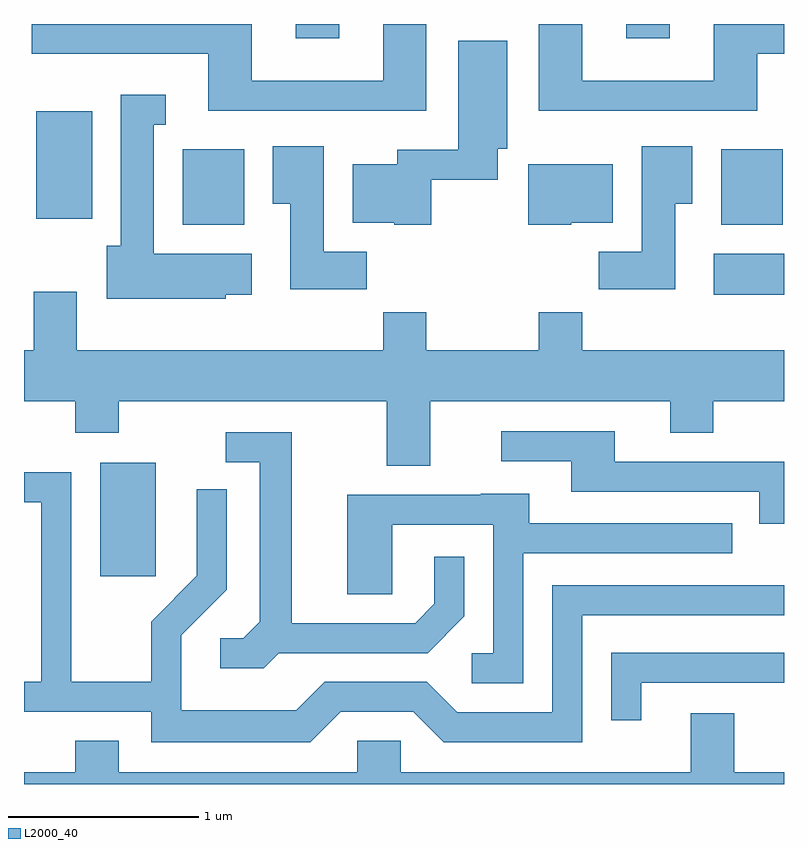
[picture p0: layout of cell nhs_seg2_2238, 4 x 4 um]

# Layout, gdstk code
import gdstk
lib = gdstk.Library(unit=1e-6, precision=1e-09)
def R(c, l, rs):  # rectangles x0, y0, x1, y1
    for r in rs: c.add(gdstk.rectangle(r[:2], r[2:], *l))
def P(c, l, *ps):  # polygons
    for p in ps: c.add(gdstk.Polygon(p, *l))
L2000_40 = (2000, 40)

nhs_seg2_2238 = lib.new_cell('nhs_seg2_2238')
R(nhs_seg2_2238, L2000_40, [(250.011,1102.896,250.304,1103.494), (253.241,1104.376,253.611,1104.594), (250.446,1104.746,250.769,1105.144), (253.281,1104.746,253.604,1105.144), (249.676,1104.776,249.969,1105.344), (251.041,1105.726,251.269,1105.802), (252.781,1105.726,253.009,1105.802)])
P(nhs_seg2_2238, L2000_40, [(253.469,1105.646),(253.611,1105.646),(253.611,1105.802),(253.241,1105.802),(253.241,1105.504),(252.549,1105.504),(252.549,1105.802),(252.321,1105.802),(252.321,1105.346),(253.469,1105.346)],
  [(251.729,1105.802),(251.501,1105.802),(251.501,1105.504),(250.809,1105.504),(250.809,1105.802),(249.653,1105.802),(249.653,1105.646),(250.581,1105.646),(250.581,1105.346),(251.729,1105.346)],
  [(251.754,1104.981),(252.104,1104.981),(252.104,1105.146),(252.154,1105.146),(252.154,1105.714),(251.896,1105.714),(251.896,1105.139),(251.576,1105.139),(251.576,1105.064),(251.341,1105.064),(251.341,1104.756),(251.56,1104.756),(251.56,1104.746),(251.754,1104.746)],
  [(250.674,1104.376),(250.809,1104.376),(250.809,1104.594),(250.294,1104.594),(250.294,1105.271),(250.358,1105.271),(250.358,1105.429),(250.121,1105.429),(250.121,1104.634),(250.046,1104.634),(250.046,1104.356),(250.674,1104.356)],
  [(251.414,1104.604),(251.189,1104.604),(251.189,1105.159),(250.921,1105.159),(250.921,1104.856),(251.011,1104.856),(251.011,1104.406),(251.414,1104.406)],
  [(253.039,1104.856),(253.129,1104.856),(253.129,1105.159),(252.861,1105.159),(252.861,1104.604),(252.636,1104.604),(252.636,1104.406),(253.039,1104.406)],
  [(252.49,1104.756),(252.709,1104.756),(252.709,1105.064),(252.266,1105.064),(252.266,1104.746),(252.49,1104.746)],
  [(251.749,1103.816),(253.011,1103.816),(253.011,1103.651),(253.239,1103.651),(253.239,1103.816),(253.611,1103.816),(253.611,1104.084),(252.549,1104.084),(252.549,1104.284),(252.321,1104.284),(252.321,1104.084),(251.729,1104.084),(251.729,1104.284),(251.501,1104.284),(251.501,1104.084),(249.889,1104.084),(249.889,1104.394),(249.661,1104.394),(249.661,1104.084),(249.611,1104.084),(249.611,1103.816),(249.881,1103.816),(249.881,1103.651),(250.109,1103.651),(250.109,1103.816),(251.521,1103.816),(251.521,1103.476),(251.749,1103.476)],
  [(253.611,1103.499),(252.719,1103.499),(252.719,1103.659),(252.123,1103.659),(252.123,1103.501),(252.491,1103.501),(252.491,1103.341),(253.481,1103.341),(253.481,1103.171),(253.611,1103.171)],
  [(250.952,1102.491),(251.737,1102.491),(251.929,1102.684),(251.929,1102.998),(251.771,1102.998),(251.771,1102.752),(251.669,1102.649),(251.019,1102.649),(251.019,1103.654),(250.673,1103.654),(250.673,1103.496),(250.851,1103.496),(250.851,1102.657),(250.764,1102.569),(250.643,1102.569),(250.643,1102.411),(250.872,1102.411)],
  [(251.277,1102.181),(251.659,1102.181),(251.819,1102.021),(252.549,1102.021),(252.549,1102.691),(253.611,1102.691),(253.611,1102.849),(252.391,1102.849),(252.391,1102.179),(251.892,1102.179),(251.732,1102.339),(251.194,1102.339),(251.044,1102.189),(250.439,1102.189),(250.439,1102.584),(250.679,1102.824),(250.679,1103.353),(250.521,1103.353),(250.521,1102.897),(250.281,1102.657),(250.281,1102.339),(249.859,1102.339),(249.859,1103.444),(249.611,1103.444),(249.611,1103.286),(249.701,1103.286),(249.701,1102.339),(249.611,1102.339),(249.611,1102.181),(250.281,1102.181),(250.281,1102.021),(251.117,1102.021)],
  [(252.239,1103.016),(253.338,1103.016),(253.338,1103.174),(252.269,1103.174),(252.269,1103.329),(252.015,1103.329),(252.015,1103.324),(251.311,1103.324),(251.311,1102.801),(251.549,1102.801),(251.549,1103.166),(252.081,1103.166),(252.081,1102.489),(251.968,1102.489),(251.968,1102.331),(252.239,1102.331)],
  [(252.859,1102.336),(253.611,1102.336),(253.611,1102.494),(252.701,1102.494),(252.701,1102.138),(252.859,1102.138)],
  [(253.611,1101.864),(253.349,1101.864),(253.349,1102.174),(253.121,1102.174),(253.121,1101.864),(251.594,1101.864),(251.594,1102.029),(251.366,1102.029),(251.366,1101.864),(250.109,1101.864),(250.109,1102.029),(249.881,1102.029),(249.881,1101.864),(249.611,1101.864),(249.611,1101.802),(253.611,1101.802)])

lib.write_gds('nhs_seg2_2238.gds')
